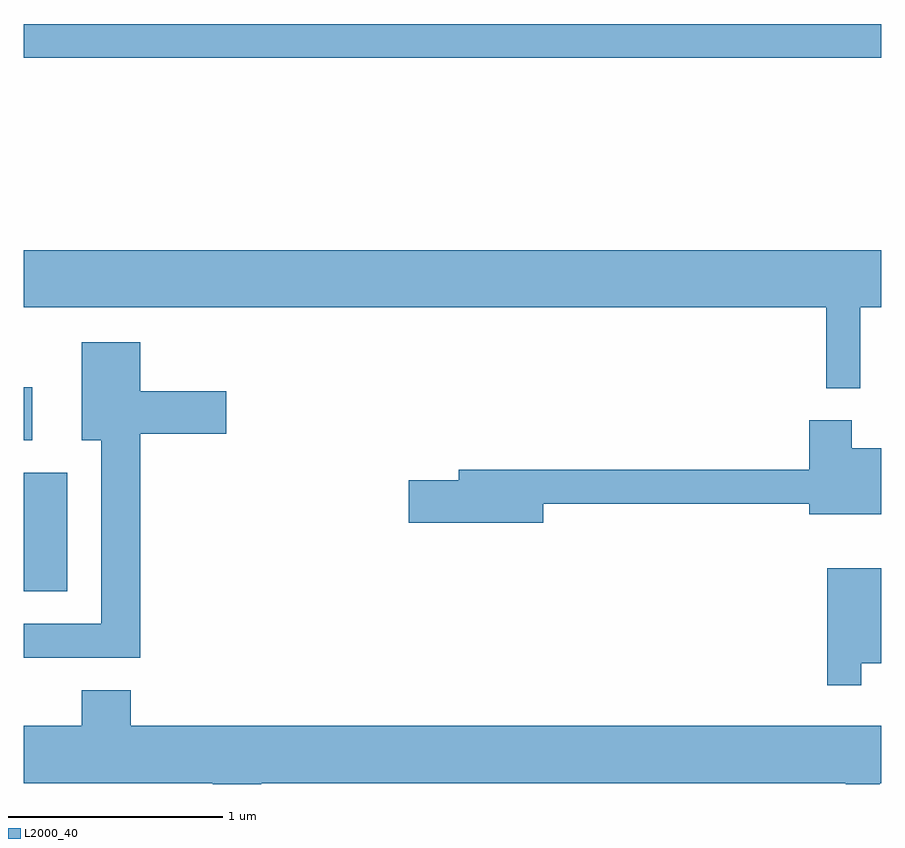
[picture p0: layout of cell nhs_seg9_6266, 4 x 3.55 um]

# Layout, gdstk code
import gdstk
lib = gdstk.Library(unit=1e-6, precision=1e-09)
def R(c, l, rs):  # rectangles x0, y0, x1, y1
    for r in rs: c.add(gdstk.rectangle(r[:2], r[2:], *l))
def P(c, l, *ps):  # polygons
    for p in ps: c.add(gdstk.Polygon(p, *l))
L2000_40 = (2000, 40)

nhs_seg9_6266 = lib.new_cell('nhs_seg9_6266')
R(nhs_seg9_6266, L2000_40, [(369.611,2039.331,369.814,2039.884), (369.611,2040.036,369.649,2040.284), (369.611,2041.821,373.611,2041.979)])
P(nhs_seg9_6266, L2000_40, [(373.514,2040.656),(373.611,2040.656),(373.611,2040.924),(369.611,2040.924),(369.611,2040.656),(373.356,2040.656),(373.356,2040.278),(373.514,2040.278)],
  [(370.154,2040.066),(370.554,2040.066),(370.554,2040.264),(370.154,2040.264),(370.154,2040.494),(369.881,2040.494),(369.881,2040.036),(369.971,2040.036),(369.971,2039.179),(369.611,2039.179),(369.611,2039.021),(370.154,2039.021)],
  [(372.034,2039.741),(373.276,2039.741),(373.276,2039.691),(373.611,2039.691),(373.611,2039.999),(373.474,2039.999),(373.474,2040.129),(373.276,2040.129),(373.276,2039.899),(371.641,2039.899),(371.641,2039.849),(371.406,2039.849),(371.406,2039.651),(372.034,2039.651)],
  [(373.519,2038.996),(373.611,2038.996),(373.611,2039.439),(373.361,2039.439),(373.361,2038.893),(373.519,2038.893)],
  [(370.719,2038.436),(373.446,2038.436),(373.446,2038.432),(373.604,2038.432),(373.604,2038.436),(373.611,2038.436),(373.611,2038.704),(370.109,2038.704),(370.109,2038.869),(369.881,2038.869),(369.881,2038.704),(369.611,2038.704),(369.611,2038.436),(370.491,2038.436),(370.491,2038.432),(370.719,2038.432)])

lib.write_gds('nhs_seg9_6266.gds')
